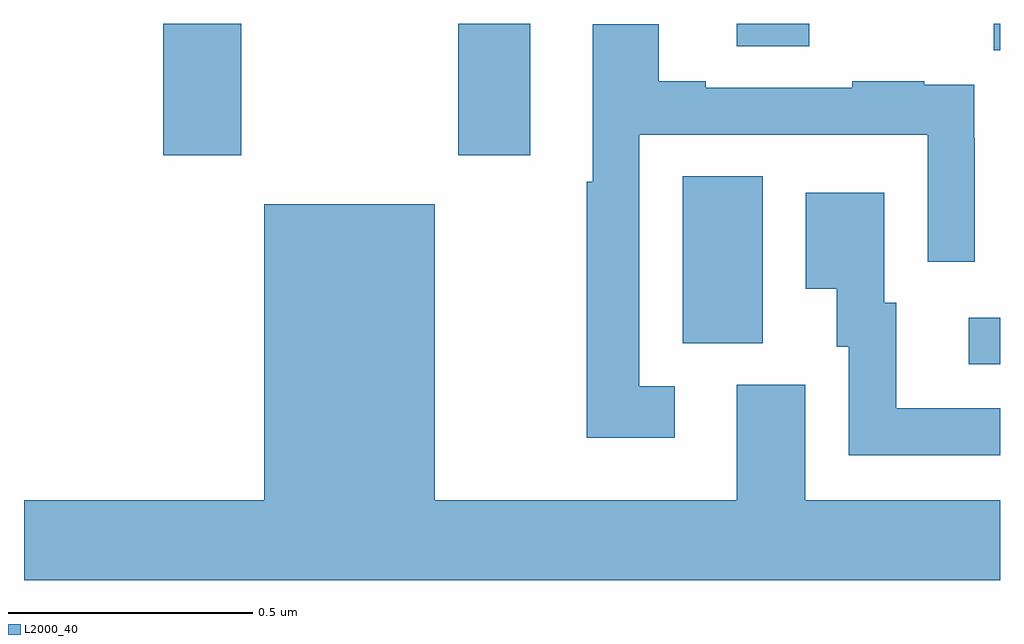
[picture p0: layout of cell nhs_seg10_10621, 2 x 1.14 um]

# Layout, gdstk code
import gdstk
lib = gdstk.Library(unit=1e-6, precision=1e-09)
def R(c, l, rs):  # rectangles x0, y0, x1, y1
    for r in rs: c.add(gdstk.rectangle(r[:2], r[2:], *l))
def P(c, l, *ps):  # polygons
    for p in ps: c.add(gdstk.Polygon(p, *l))
L2000_40 = (2000, 40)

nhs_seg10_10621 = lib.new_cell('nhs_seg10_10621')
R(nhs_seg10_10621, L2000_40, [(246.936,1256.802,247,1256.898), (246.35,1256.845,246.514,1257.188), (245.285,1257.231,245.445,1257.5), (245.89,1257.231,246.037,1257.5), (246.987,1257.446,247,1257.5), (246.461,1257.454,246.609,1257.5)])
P(nhs_seg10_10621, L2000_40, [(246.334,1256.757),(246.261,1256.757),(246.261,1257.273),(246.852,1257.273),(246.852,1257.012),(246.948,1257.012),(246.948,1257.266),(246.947,1257.266),(246.947,1257.375),(246.845,1257.375),(246.845,1257.382),(246.697,1257.382),(246.697,1257.369),(246.397,1257.369),(246.397,1257.382),(246.301,1257.382),(246.301,1257.499),(246.165,1257.499),(246.165,1257.176),(246.153,1257.176),(246.153,1256.652),(246.334,1256.652)],
  [(247,1256.712),(246.787,1256.712),(246.787,1256.928),(246.763,1256.928),(246.763,1257.154),(246.602,1257.154),(246.602,1256.957),(246.665,1256.957),(246.665,1256.838),(246.69,1256.838),(246.69,1256.616),(247,1256.616)],
  [(247,1256.524),(246.601,1256.524),(246.601,1256.76),(246.461,1256.76),(246.461,1256.524),(245.842,1256.524),(245.842,1257.13),(245.492,1257.13),(245.492,1256.524),(245,1256.524),(245,1256.36),(247,1256.36)])

lib.write_gds('nhs_seg10_10621.gds')
